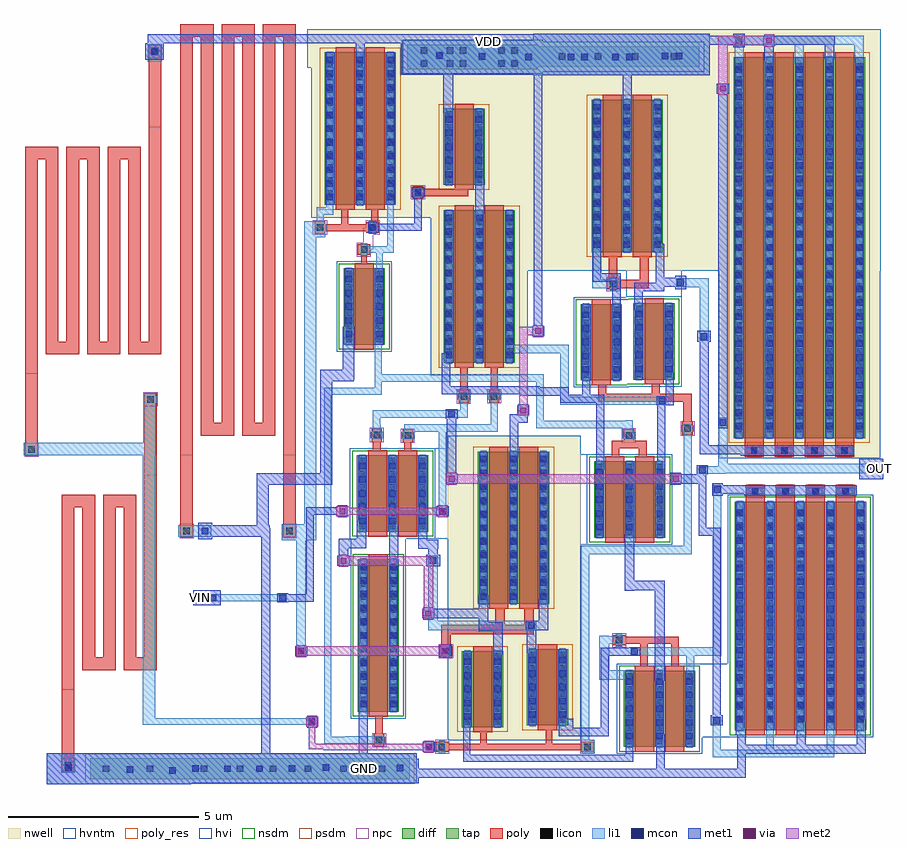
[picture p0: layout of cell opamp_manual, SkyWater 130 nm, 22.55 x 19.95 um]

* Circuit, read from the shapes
.subckt opamp_manual GND OUT VDD VIN
XM1 n1 n1 GND GND sky130_fd_pr__nfet_g5v0d10v5 w=2 l=0.5
XM2 n2 OUT n3 GND sky130_fd_pr__nfet_g5v0d10v5 w=2 l=0.5
XM3 n2 n1 GND GND sky130_fd_pr__nfet_g5v0d10v5 w=4 l=0.5
XM4 n4 VIN n2 GND sky130_fd_pr__nfet_g5v0d10v5 w=2 l=0.5
XM5 n5 n6 n7 GND sky130_fd_pr__nfet_g5v0d10v5 w=2 l=0.5
XM6 GND n1 n7 GND sky130_fd_pr__nfet_g5v0d10v5 w=2 l=0.5
XM7 GND n8 n8 GND sky130_fd_pr__nfet_g5v0d10v5 w=2 l=0.5
XM8 n9 n1 GND GND sky130_fd_pr__nfet_g5v0d10v5 w=2 l=0.5
XM9 n9 n6 n10 GND sky130_fd_pr__nfet_g5v0d10v5 w=2 l=0.5
XM10 n11 n8 GND GND sky130_fd_pr__nfet_g5v0d10v5 w=2 l=0.5
XM11 OUT n11 GND GND sky130_fd_pr__nfet_g5v0d10v5 w=6 l=0.5 m=4
XM12 VDD n12 n12 VDD sky130_fd_pr__pfet_g5v0d10v5 w=4 l=0.5
XM13 n1 n12 VDD VDD sky130_fd_pr__pfet_g5v0d10v5 w=4 l=0.5
XM14 n13 n12 VDD VDD sky130_fd_pr__pfet_g5v0d10v5 w=2 l=0.5
XM15 n13 OUT n7 VDD sky130_fd_pr__pfet_g5v0d10v5 w=4 l=0.5
XM16 n3 n6 n8 n14 sky130_fd_pr__pfet_g5v0d10v5 w=2 l=0.5
XM17 n9 VIN n13 VDD sky130_fd_pr__pfet_g5v0d10v5 w=4 l=0.5
XM18 VDD n12 n3 n14 sky130_fd_pr__pfet_g5v0d10v5 w=4 l=0.5
XM19 n4 n12 VDD n14 sky130_fd_pr__pfet_g5v0d10v5 w=4 l=0.5
XM20 n11 n6 n4 n14 sky130_fd_pr__pfet_g5v0d10v5 w=2 l=0.5
XM21 VDD n5 n5 VDD sky130_fd_pr__pfet_g5v0d10v5 w=4 l=0.5
XM22 n10 n5 VDD VDD sky130_fd_pr__pfet_g5v0d10v5 w=4 l=0.5
XM23 OUT n10 VDD VDD sky130_fd_pr__pfet_g5v0d10v5 w=10 l=0.5 m=4
R24 VDD n6 sky130_fd_pr__res_generic_po w=0.33 l=40.45
R25 n6 GND sky130_fd_pr__res_generic_po w=0.33 l=24.88
R26 GND n12 sky130_fd_pr__res_generic_po w=0.33 l=66.89
.ends

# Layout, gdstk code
import gdstk
lib = gdstk.Library(unit=1e-6, precision=1e-09)
def R(c, l, rs):  # rectangles x0, y0, x1, y1
    for r in rs: c.add(gdstk.rectangle(r[:2], r[2:], *l))
def A(c, l, x, y, w, h, nx, ny, dx, dy):  # array of equal rectangles
    R(c, l, [(x+i*dx, y+j*dy, x+i*dx+w, y+j*dy+h) for i in range(nx) for j in range(ny)])
nwell = (64, 20)
diff = (65, 20)
tap = (65, 44)
poly_res = (66, 13)
poly = (66, 20)
licon = (66, 44)
li1 = (67, 20)
mcon = (67, 44)
met1 = (68, 20)
via = (68, 44)
met2 = (69, 20)
hvi = (75, 20)
nsdm = (93, 44)
psdm = (94, 20)
npc = (95, 20)
hvntm = (125, 20)

sky130_fd_pr__res_generi = lib.new_cell('sky130_fd_pr__res_generic_po_RXJSZ5')
A(sky130_fd_pr__res_generi, poly_res, -0.975, -3.735, 0.33, 10.14, 4, 1, 0.54, 0)
A(sky130_fd_pr__res_generi, poly_res, -1.515, 6.405, 0.87, 0.33, 3, 1, 1.08, 0)
R(sky130_fd_pr__res_generi, poly_res, [(-1.515,-4.585,-1.185,6.405), (1.185,-4.585,1.515,6.405), (-0.975,-4.065,-0.105,-3.735), (0.105,-4.065,0.975,-3.735)])
A(sky130_fd_pr__res_generi, poly, -0.975, -3.735, 0.33, 10.14, 4, 1, 0.54, 0)
A(sky130_fd_pr__res_generi, poly, -1.515, 6.405, 0.87, 0.33, 3, 1, 1.08, 0)
R(sky130_fd_pr__res_generi, poly, [(-1.515,-6.735,-1.185,6.405), (1.185,-6.735,1.515,6.405), (-0.975,-4.065,-0.105,-3.735), (0.105,-4.065,0.975,-3.735)])
R(sky130_fd_pr__res_generi, licon, [(-1.435,-6.655,-1.265,-6.485), (1.265,-6.655,1.435,-6.485)])
R(sky130_fd_pr__res_generi, li1, [(-1.515,-6.655,-1.185,-6.485), (1.185,-6.655,1.515,-6.485)])
R(sky130_fd_pr__res_generi, npc, [(-1.535,-6.755,-1.165,-6.385), (1.165,-6.755,1.535,-6.385)])

sky130_fd_pr__pfet_g5v0d = lib.new_cell('sky130_fd_pr__pfet_g5v0d10v5_8FJ7Y8')
R(sky130_fd_pr__pfet_g5v0d, nwell, [(-1.115,-2.31,1.115,2.31)])
R(sky130_fd_pr__pfet_g5v0d, diff, [(-0.935,-2,0.935,2)])
R(sky130_fd_pr__pfet_g5v0d, poly, [(-0.645,-2.13,-0.145,2.13), (0.145,-2.13,0.645,2.13)])
A(sky130_fd_pr__pfet_g5v0d, licon, -0.875, -1.785, 0.17, 0.17, 3, 11, 0.79, 0.34)
A(sky130_fd_pr__pfet_g5v0d, li1, -0.875, -2.02, 0.17, 4.04, 3, 1, 0.79, 0)
A(sky130_fd_pr__pfet_g5v0d, mcon, -0.875, -1.885, 0.17, 0.17, 3, 11, 0.79, 0.36)
A(sky130_fd_pr__pfet_g5v0d, met1, -0.905, -2, 0.23, 4, 3, 1, 0.79, 0)
R(sky130_fd_pr__pfet_g5v0d, hvi, [(-1.115,-2.31,1.115,-2.185), (-1.12,-2.185,1.12,2.185), (-1.115,2.185,1.115,2.31)])
R(sky130_fd_pr__pfet_g5v0d, psdm, [(-1.06,-2.125,1.06,2.125)])

sky130_fd_pr__nfet_g5v0d = lib.new_cell('sky130_fd_pr__nfet_g5v0d10v5_RMDT5Q')
R(sky130_fd_pr__nfet_g5v0d, diff, [(-0.54,-1,0.54,1)])
R(sky130_fd_pr__nfet_g5v0d, poly, [(-0.25,-1.13,0.25,1.13)])
A(sky130_fd_pr__nfet_g5v0d, licon, -0.48, -0.935, 0.17, 0.17, 1, 6, 0, 0.34)
A(sky130_fd_pr__nfet_g5v0d, licon, 0.31, -0.935, 0.17, 0.17, 1, 6, 0, 0.34)
R(sky130_fd_pr__nfet_g5v0d, li1, [(-0.48,-1.02,-0.31,1.02), (0.31,-1.02,0.48,1.02)])
A(sky130_fd_pr__nfet_g5v0d, mcon, -0.48, -0.805, 0.17, 0.17, 1, 5, 0, 0.36)
A(sky130_fd_pr__nfet_g5v0d, mcon, 0.31, -0.805, 0.17, 0.17, 1, 5, 0, 0.36)
R(sky130_fd_pr__nfet_g5v0d, met1, [(-0.51,-1,-0.28,1), (0.28,-1,0.51,1)])
R(sky130_fd_pr__nfet_g5v0d, hvi, [(-0.725,-1.185,0.725,1.185)])
R(sky130_fd_pr__nfet_g5v0d, nsdm, [(-0.665,-1.125,0.665,1.125)])
R(sky130_fd_pr__nfet_g5v0d, hvntm, [(-0.725,-1.185,0.725,1.185)])

c_sky130_fd_pr__nfet_g5v0d = lib.new_cell('sky130_fd_pr__nfet_g5v0d10v5_PMDTK2')
R(c_sky130_fd_pr__nfet_g5v0d, diff, [(-0.54,-2,0.54,2)])
R(c_sky130_fd_pr__nfet_g5v0d, poly, [(-0.25,-2.13,0.25,2.13)])
A(c_sky130_fd_pr__nfet_g5v0d, licon, -0.48, -1.785, 0.17, 0.17, 1, 11, 0, 0.34)
A(c_sky130_fd_pr__nfet_g5v0d, licon, 0.31, -1.785, 0.17, 0.17, 1, 11, 0, 0.34)
R(c_sky130_fd_pr__nfet_g5v0d, li1, [(-0.48,-2.02,-0.31,2.02), (0.31,-2.02,0.48,2.02)])
A(c_sky130_fd_pr__nfet_g5v0d, mcon, -0.48, -1.885, 0.17, 0.17, 1, 11, 0, 0.36)
A(c_sky130_fd_pr__nfet_g5v0d, mcon, 0.31, -1.885, 0.17, 0.17, 1, 11, 0, 0.36)
R(c_sky130_fd_pr__nfet_g5v0d, met1, [(-0.51,-2,-0.28,2), (0.28,-2,0.51,2)])
R(c_sky130_fd_pr__nfet_g5v0d, hvi, [(-0.725,-2.185,0.725,2.185)])
R(c_sky130_fd_pr__nfet_g5v0d, nsdm, [(-0.665,-2.125,0.665,2.125)])
R(c_sky130_fd_pr__nfet_g5v0d, hvntm, [(-0.725,-2.185,0.725,2.185)])

c_sky130_fd_pr__nfet_g5v0d_ = lib.new_cell('sky130_fd_pr__nfet_g5v0d10v5_V6DT5N')
R(c_sky130_fd_pr__nfet_g5v0d_, diff, [(-0.935,-1,0.935,1)])
R(c_sky130_fd_pr__nfet_g5v0d_, poly, [(-0.645,-1.13,-0.145,1.13), (0.145,-1.13,0.645,1.13)])
A(c_sky130_fd_pr__nfet_g5v0d_, licon, -0.875, -0.935, 0.17, 0.17, 3, 6, 0.79, 0.34)
A(c_sky130_fd_pr__nfet_g5v0d_, li1, -0.875, -1.02, 0.17, 2.04, 3, 1, 0.79, 0)
A(c_sky130_fd_pr__nfet_g5v0d_, mcon, -0.875, -0.805, 0.17, 0.17, 3, 5, 0.79, 0.36)
A(c_sky130_fd_pr__nfet_g5v0d_, met1, -0.905, -1, 0.23, 2, 3, 1, 0.79, 0)
R(c_sky130_fd_pr__nfet_g5v0d_, hvi, [(-1.12,-1.185,1.12,1.185)])
R(c_sky130_fd_pr__nfet_g5v0d_, nsdm, [(-1.06,-1.125,1.06,1.125)])
R(c_sky130_fd_pr__nfet_g5v0d_, hvntm, [(-1.12,-1.185,1.12,1.185)])

c_sky130_fd_pr__pfet_g5v0d = lib.new_cell('sky130_fd_pr__pfet_g5v0d10v5_D4MKA2')
R(c_sky130_fd_pr__pfet_g5v0d, nwell, [(-0.72,-1.31,0.72,1.31)])
R(c_sky130_fd_pr__pfet_g5v0d, diff, [(-0.54,-1,0.54,1)])
R(c_sky130_fd_pr__pfet_g5v0d, poly, [(-0.25,-1.13,0.25,1.13)])
A(c_sky130_fd_pr__pfet_g5v0d, licon, -0.48, -0.935, 0.17, 0.17, 1, 6, 0, 0.34)
A(c_sky130_fd_pr__pfet_g5v0d, licon, 0.31, -0.935, 0.17, 0.17, 1, 6, 0, 0.34)
R(c_sky130_fd_pr__pfet_g5v0d, li1, [(-0.48,-1.02,-0.31,1.02), (0.31,-1.02,0.48,1.02)])
A(c_sky130_fd_pr__pfet_g5v0d, mcon, -0.48, -0.805, 0.17, 0.17, 1, 5, 0, 0.36)
A(c_sky130_fd_pr__pfet_g5v0d, mcon, 0.31, -0.805, 0.17, 0.17, 1, 5, 0, 0.36)
R(c_sky130_fd_pr__pfet_g5v0d, met1, [(-0.51,-1,-0.28,1), (0.28,-1,0.51,1)])
R(c_sky130_fd_pr__pfet_g5v0d, hvi, [(-0.72,-1.31,0.72,-1.185), (-0.725,-1.185,0.725,1.185), (-0.72,1.185,0.72,1.31)])
R(c_sky130_fd_pr__pfet_g5v0d, psdm, [(-0.665,-1.125,0.665,1.125)])

c_sky130_fd_pr__pfet_g5v0d_ = lib.new_cell('sky130_fd_pr__pfet_g5v0d10v5_D8UYD2')
R(c_sky130_fd_pr__pfet_g5v0d_, nwell, [(-1.115,-2.31,1.115,2.31)])
R(c_sky130_fd_pr__pfet_g5v0d_, diff, [(-0.935,-2,0.935,2)])
R(c_sky130_fd_pr__pfet_g5v0d_, poly, [(-0.645,-2.13,-0.145,2.13), (0.145,-2.13,0.645,2.13)])
A(c_sky130_fd_pr__pfet_g5v0d_, licon, -0.875, -1.785, 0.17, 0.17, 3, 11, 0.79, 0.34)
A(c_sky130_fd_pr__pfet_g5v0d_, li1, -0.875, -2.02, 0.17, 4.04, 3, 1, 0.79, 0)
A(c_sky130_fd_pr__pfet_g5v0d_, mcon, -0.875, -1.885, 0.17, 0.17, 3, 11, 0.79, 0.36)
A(c_sky130_fd_pr__pfet_g5v0d_, met1, -0.905, -2, 0.23, 4, 3, 1, 0.79, 0)
R(c_sky130_fd_pr__pfet_g5v0d_, hvi, [(-1.115,-2.31,1.115,-2.185), (-1.12,-2.185,1.12,2.185), (-1.115,2.185,1.115,2.31)])
R(c_sky130_fd_pr__pfet_g5v0d_, psdm, [(-1.06,-2.125,1.06,2.125)])

c_sky130_fd_pr__nfet_g5v0d__ = lib.new_cell('sky130_fd_pr__nfet_g5v0d10v5_S6V9QV')
R(c_sky130_fd_pr__nfet_g5v0d__, diff, [(-1.725,-3.155,1.725,2.845)])
A(c_sky130_fd_pr__nfet_g5v0d__, poly, -1.435, -3.285, 0.5, 6.57, 4, 1, 0.79, 0)
A(c_sky130_fd_pr__nfet_g5v0d__, licon, -1.665, -2.96, 0.17, 0.17, 5, 17, 0.79, 0.34)
A(c_sky130_fd_pr__nfet_g5v0d__, licon, -1.27, 3.035, 0.17, 0.17, 4, 1, 0.79, 0)
A(c_sky130_fd_pr__nfet_g5v0d__, li1, -1.665, -3.175, 0.17, 6.04, 5, 1, 0.79, 0)
A(c_sky130_fd_pr__nfet_g5v0d__, li1, -1.435, 3.035, 0.5, 0.17, 4, 1, 0.79, 0)
A(c_sky130_fd_pr__nfet_g5v0d__, mcon, -1.665, -2.94, 0.17, 0.17, 5, 16, 0.79, 0.36)
A(c_sky130_fd_pr__nfet_g5v0d__, mcon, -1.27, 3.035, 0.17, 0.17, 4, 1, 0.79, 0)
A(c_sky130_fd_pr__nfet_g5v0d__, met1, -1.695, -3.155, 0.23, 6, 5, 1, 0.79, 0)
A(c_sky130_fd_pr__nfet_g5v0d__, met1, -1.415, 3.005, 0.46, 0.23, 4, 1, 0.79, 0)
R(c_sky130_fd_pr__nfet_g5v0d__, hvi, [(-1.91,-3.34,1.91,3.03)])
R(c_sky130_fd_pr__nfet_g5v0d__, nsdm, [(-1.85,-3.28,1.85,2.97)])
A(c_sky130_fd_pr__nfet_g5v0d__, npc, -1.37, 2.935, 0.37, 0.37, 4, 1, 0.79, 0)
R(c_sky130_fd_pr__nfet_g5v0d__, hvntm, [(-1.91,-3.34,1.91,3.03)])

c_sky130_fd_pr__pfet_g5v0d__ = lib.new_cell('sky130_fd_pr__pfet_g5v0d10v5_H9HYDU')
R(c_sky130_fd_pr__pfet_g5v0d__, nwell, [(-1.905,-5.32,1.905,5.49)])
R(c_sky130_fd_pr__pfet_g5v0d__, diff, [(-1.725,-4.82,1.725,5.18)])
A(c_sky130_fd_pr__pfet_g5v0d__, poly, -1.435, -5.305, 0.5, 10.615, 4, 1, 0.79, 0)
A(c_sky130_fd_pr__pfet_g5v0d__, licon, -1.27, -5.225, 0.17, 0.17, 4, 1, 0.79, 0)
A(c_sky130_fd_pr__pfet_g5v0d__, licon, -1.665, -4.665, 0.17, 0.17, 5, 29, 0.79, 0.34)
A(c_sky130_fd_pr__pfet_g5v0d__, li1, -1.435, -5.225, 0.5, 0.17, 4, 1, 0.79, 0)
A(c_sky130_fd_pr__pfet_g5v0d__, li1, -1.665, -4.84, 0.17, 10.04, 5, 1, 0.79, 0)
A(c_sky130_fd_pr__pfet_g5v0d__, mcon, -1.27, -5.225, 0.17, 0.17, 4, 1, 0.79, 0)
A(c_sky130_fd_pr__pfet_g5v0d__, mcon, -1.665, -4.585, 0.17, 0.17, 5, 27, 0.79, 0.36)
A(c_sky130_fd_pr__pfet_g5v0d__, met1, -1.415, -5.255, 0.46, 0.23, 4, 1, 0.79, 0)
A(c_sky130_fd_pr__pfet_g5v0d__, met1, -1.695, -4.82, 0.23, 10, 5, 1, 0.79, 0)
R(c_sky130_fd_pr__pfet_g5v0d__, hvi, [(-1.905,-5.32,1.905,-5.005), (-1.91,-5.005,1.91,5.365), (-1.905,5.365,1.905,5.49)])
R(c_sky130_fd_pr__pfet_g5v0d__, psdm, [(-1.85,-4.945,1.85,5.305)])
A(c_sky130_fd_pr__pfet_g5v0d__, npc, -1.37, -5.325, 0.37, 0.37, 4, 1, 0.79, 0)

c_sky130_fd_pr__res_generi = lib.new_cell('sky130_fd_pr__res_generic_po_V4ENZ7')
A(c_sky130_fd_pr__res_generi, poly_res, -1.245, -2.725, 0.87, 0.33, 3, 1, 1.08, 0)
A(c_sky130_fd_pr__res_generi, poly_res, -1.245, -2.395, 0.33, 4.79, 5, 1, 0.54, 0)
A(c_sky130_fd_pr__res_generi, poly_res, -1.785, 2.395, 0.87, 0.33, 3, 1, 1.08, 0)
R(c_sky130_fd_pr__res_generi, poly_res, [(-1.785,-3.245,-1.455,2.395), (1.455,-2.395,1.785,3.245)])
A(c_sky130_fd_pr__res_generi, poly, -1.245, -2.725, 0.87, 0.33, 3, 1, 1.08, 0)
A(c_sky130_fd_pr__res_generi, poly, -1.245, -2.395, 0.33, 4.79, 5, 1, 0.54, 0)
A(c_sky130_fd_pr__res_generi, poly, -1.785, 2.395, 0.87, 0.33, 3, 1, 1.08, 0)
R(c_sky130_fd_pr__res_generi, poly, [(-1.785,-5.395,-1.455,2.395), (1.455,-2.395,1.785,5.395)])
R(c_sky130_fd_pr__res_generi, licon, [(-1.705,-5.315,-1.535,-5.145), (1.535,5.145,1.705,5.315)])
R(c_sky130_fd_pr__res_generi, li1, [(-1.785,-5.315,-1.455,-5.145), (1.455,5.145,1.785,5.315)])
R(c_sky130_fd_pr__res_generi, npc, [(-1.805,-5.415,-1.435,-5.045), (1.435,5.045,1.805,5.415)])

c_sky130_fd_pr__res_generi_ = lib.new_cell('sky130_fd_pr__res_generic_po_KFNRVH')
A(c_sky130_fd_pr__res_generi_, poly_res, -0.705, -1.97, 0.33, 3.94, 3, 1, 0.54, 0)
R(c_sky130_fd_pr__res_generi_, poly_res, [(-1.245,-2.82,-0.915,1.97), (-0.705,-2.3,0.165,-1.97), (0.375,-2.3,1.245,-1.97), (0.915,-1.97,1.245,2.82), (-1.245,1.97,-0.375,2.3), (-0.165,1.97,0.705,2.3)])
A(c_sky130_fd_pr__res_generi_, poly, -0.705, -1.97, 0.33, 3.94, 3, 1, 0.54, 0)
R(c_sky130_fd_pr__res_generi_, poly, [(-1.245,-4.97,-0.915,1.97), (-0.705,-2.3,0.165,-1.97), (0.375,-2.3,1.245,-1.97), (0.915,-1.97,1.245,4.97), (-1.245,1.97,-0.375,2.3), (-0.165,1.97,0.705,2.3)])
R(c_sky130_fd_pr__res_generi_, licon, [(-1.165,-4.89,-0.995,-4.72), (0.995,4.72,1.165,4.89)])
R(c_sky130_fd_pr__res_generi_, li1, [(-1.245,-4.89,-0.915,-4.72), (0.915,4.72,1.245,4.89)])
R(c_sky130_fd_pr__res_generi_, npc, [(-1.265,-4.99,-0.895,-4.62), (0.895,4.62,1.265,4.99)])

opamp_manual = lib.new_cell('opamp_manual')
R(opamp_manual, nwell, [(7.115,1.13,10.55,1.14), (7.07,1.14,10.56,9.125), (14.185,8.535,18.415,13.455), (6.615,10.705,9.16,13.455), (6.615,13.455,18.425,14.845), (3.485,14.845,18.425,18.775), (3.385,18.775,18.425,19.785)])
R(opamp_manual, tap, [(-2.32,0.11,6.065,0.655), (6.01,18.74,9.43,18.8), (6.01,18.8,13.67,19.34), (6.01,19.34,9.43,19.385)])
R(opamp_manual, poly, [(6.755,0.82,7.085,0.87), (10.565,0.82,10.895,0.87), (6.755,0.87,10.895,1.04), (5.13,0.965,5.4,1.295), (6.755,1.04,7.085,1.09), (7.92,1.04,8.09,1.49), (9.645,1.04,9.815,1.485), (10.565,1.04,10.895,1.09), (5.165,1.295,5.365,1.915), (12.115,2.925,12.31,3.655), (12.935,2.95,13.13,3.655), (6.855,3.33,7.185,3.6), (6.895,3.6,7.145,3.905), (11.4,3.62,11.73,3.655), (11.4,3.655,13.13,3.85), (11.4,3.85,11.73,3.89), (6.895,3.905,9.32,4.155), (8.31,4.155,8.56,4.765), (9.07,4.155,9.32,4.685), (11.37,8.41,11.57,8.79), (12.085,8.415,12.285,8.79), (5.1,8.565,5.31,8.975), (5.92,8.575,6.115,8.955), (11.37,8.79,12.285,8.99), (5.885,8.955,6.155,9.285), (5.07,8.975,5.34,9.305), (11.685,8.99,11.955,9.29), (13.225,9.145,13.495,9.475), (13.25,9.475,13.465,10.005), (7.355,9.985,7.625,10.315), (8.15,9.99,8.42,10.32), (11.015,10.005,13.465,10.22), (11.015,10.22,11.23,10.62), (12.415,10.22,12.63,10.625), (7.39,10.315,7.59,11.07), (8.19,10.32,8.375,11.065), (11.24,12.965,11.57,12.985), (11.24,12.985,12.335,13.215), (11.24,13.215,11.57,13.235), (12.105,13.215,12.335,13.94), (11.29,13.235,11.52,13.99), (4.79,13.51,4.94,13.61), (4.79,13.61,4.96,13.66), (4.79,13.66,4.94,13.87), (4.7,13.87,5.03,14.14), (3.58,14.42,3.85,14.49), (4.93,14.45,5.26,14.49), (3.58,14.49,5.26,14.675), (3.58,14.675,3.85,14.75), (4.27,14.675,4.455,15.15), (4.93,14.675,5.26,14.72), (5.06,14.72,5.245,15.175), (6.15,15.34,6.42,15.405), (6.15,15.405,7.6,15.605), (6.15,15.605,6.42,15.67), (7.4,15.605,7.6,15.735)])
R(opamp_manual, licon, [(-1.99,0.295,-1.82,0.465), (-0.835,0.295,-0.665,0.465), (0.58,0.295,0.75,0.465), (1.525,0.295,1.695,0.465), (2.395,0.295,2.565,0.465), (3.31,0.295,3.48,0.465), (4.245,0.295,4.415,0.465), (5.26,0.295,5.43,0.465), (6.835,0.87,7.005,1.04), (10.645,0.87,10.815,1.04), (5.18,1.045,5.35,1.215), (6.935,3.38,7.105,3.55), (11.48,3.67,11.65,3.84), (5.935,9.035,6.105,9.205), (11.735,9.04,11.905,9.21), (5.12,9.055,5.29,9.225), (13.275,9.225,13.445,9.395), (7.405,10.065,7.575,10.235), (8.2,10.07,8.37,10.24), (11.32,13.015,11.49,13.185), (4.78,13.92,4.95,14.09), (3.63,14.5,3.8,14.67), (5.01,14.5,5.18,14.67), (6.2,15.42,6.37,15.59), (6.355,18.805,6.525,18.975), (7.045,18.805,7.215,18.975), (7.385,18.805,7.555,18.975), (8.39,18.805,8.56,18.975), (8.73,18.805,8.9,18.975), (9.98,18.985,10.15,19.155), (10.925,18.985,11.095,19.155), (11.895,18.985,12.065,19.155), (12.92,18.985,13.09,19.155), (6.355,19.145,6.525,19.315), (7.045,19.145,7.215,19.315), (7.385,19.145,7.555,19.315), (8.39,19.145,8.56,19.315), (8.73,19.145,8.9,19.315)])
R(opamp_manual, li1, [(-3.46,-0.02,0.33,0), (-3.46,0,6.255,0.785), (14.025,0.685,17.21,0.885), (-3.46,0.785,0.33,0.79), (10.585,0.785,10.93,0.82), (6.835,0.79,7.005,0.87), (10.57,0.82,10.93,1.13), (6.485,0.87,7.005,1.04), (14.025,0.885,14.225,1.75), (15.42,0.885,15.62,1.61), (17.01,0.885,17.21,1.565), (4.38,1.03,5.365,1.035), (3.825,1.035,5.365,1.045), (6.835,1.04,7.005,1.12), (3.825,1.045,5.43,1.215), (10.57,1.13,10.785,6.015), (3.825,1.215,5.365,1.22), (3.825,1.22,4.01,10.195), (4.38,1.22,5.365,1.23), (3.41,1.515,3.58,1.53), (-0.935,1.53,3.58,1.7), (-0.935,1.7,-0.605,8.61), (3.41,1.7,3.58,1.715), (13.325,2.675,13.54,3.35), (11.04,2.71,11.945,2.97), (11.04,2.97,11.3,3.66), (6.935,3.3,7.105,3.34), (6.895,3.34,7.145,3.59), (3.095,3.345,3.345,6.38), (11.865,3.35,14.25,3.565), (14.035,3.565,14.25,7.815), (6.935,3.59,7.105,3.63), (11.48,3.59,11.65,3.66), (11.04,3.66,11.665,3.855), (11.04,3.855,11.3,3.87), (11.48,3.855,11.65,3.92), (6.56,4.02,9.39,4.265), (6.56,4.265,6.805,5.97), (0.815,4.77,2.835,4.965), (10.57,6.015,13.47,6.23), (13.255,6.23,13.47,9.225), (2.71,6.38,3.62,6.795), (0,6.465,0.855,6.77), (3.3,6.795,3.62,14.335), (6.83,7.035,7.025,9.225), (13.65,8.125,14.365,8.135), (13.65,8.135,18.31,8.325), (14.17,8.325,18.31,8.38), (14.17,8.38,14.415,9.595), (-4.06,8.61,-0.595,8.94), (-0.925,8.94,-0.595,10.235), (5.925,9.025,6.12,9.035), (11.72,9.025,11.92,9.04), (5.1,9.035,5.31,9.055), (5.855,9.035,6.185,9.205), (11.655,9.04,11.985,9.21), (5.04,9.055,5.37,9.225), (5.925,9.205,6.185,9.225), (11.655,9.21,11.92,9.315), (5.1,9.225,5.31,9.41), (5.925,9.225,8.38,9.42), (13.195,9.225,13.525,9.395), (9.39,9.315,11.92,9.515), (13.255,9.395,13.47,9.42), (5.1,9.41,5.3,9.59), (8.195,9.42,8.38,10.07), (9.39,9.515,9.59,10.53), (11.72,9.515,11.92,9.52), (5.1,9.59,7.59,9.79), (7.39,9.79,7.59,10.065), (10.025,9.93,12.8,10.145), (7.325,10.065,7.655,10.235), (8.12,10.07,8.45,10.24), (10.025,10.145,10.24,11.29), (3.825,10.195,5.335,10.38), (7.39,10.235,7.59,10.25), (8.195,10.24,8.38,10.25), (5.15,10.38,5.335,10.53), (5.15,10.53,9.59,10.73), (5.15,10.73,5.335,12.545), (8.625,11.29,10.24,11.505), (13.68,11.61,13.915,13.02), (11.32,12.935,11.49,12.985), (10.855,12.985,11.52,13.215), (13.35,13.02,13.915,13.03), (13.065,13.03,13.915,13.255), (10.855,13.215,11.085,14.395), (11.32,13.215,11.49,13.265), (5.2,13.455,5.345,13.515), (5.185,13.515,5.355,13.52), (5.185,13.52,5.36,13.92), (4.78,13.84,4.95,13.92), (4.78,13.92,5.645,14.09), (4.78,14.09,4.95,14.17), (5.475,14.09,5.645,15.645), (3.3,14.335,3.85,14.5), (5.01,14.42,5.18,14.495), (5.005,14.495,5.19,14.68), (3.3,14.5,3.88,14.67), (3.3,14.67,3.85,14.75), (5.01,14.68,5.18,14.75), (3.625,14.75,3.81,14.925), (3.625,14.925,4.06,15.11), (3.875,15.11,4.06,15.44), (6.185,15.405,6.385,15.42), (6.12,15.42,6.45,15.59), (6.185,15.59,6.385,15.605), (9.31,18.585,13.94,18.59), (5.86,18.59,13.94,19.5), (16.17,18.89,16.41,19.375), (17.75,18.89,17.99,19.115), (14.595,18.915,14.835,19.375), (-0.81,18.93,-0.44,19.39), (17.74,19.115,17.99,19.23), (17.74,19.23,17.98,19.375), (14.595,19.375,17.98,19.615), (9.31,19.5,13.94,19.665)])
R(opamp_manual, mcon, [(-0.245,0.255,-0.075,0.425), (-1.355,0.275,-1.185,0.445), (1.2,0.295,1.37,0.465), (2.045,0.295,2.215,0.465), (0.36,0.305,0.53,0.475), (2.89,0.305,3.06,0.475), (5.725,0.315,5.895,0.485), (-2.975,0.325,-2.805,0.495), (3.785,0.325,3.955,0.495), (4.72,0.325,4.89,0.495), (6.485,0.87,6.655,1.04), (3.41,1.53,3.58,1.7), (14.04,1.565,14.21,1.735), (11.885,3.37,12.055,3.54), (6.935,3.38,7.105,3.55), (3.135,3.385,3.305,3.555), (9.18,4.05,9.35,4.22), (0.825,4.78,0.995,4.95), (2.65,4.78,2.82,4.95), (6.595,5.76,6.765,5.93), (0.615,6.53,0.785,6.7), (6.84,7.045,7.01,7.215), (14.055,7.62,14.225,7.79), (13.665,8.14,13.835,8.31), (18.1,8.17,18.27,8.34), (14.205,9.385,14.375,9.555), (7.085,9.61,7.255,9.78), (12.605,9.95,12.775,10.12), (13.71,11.64,13.88,11.81), (13.09,13.055,13.26,13.225), (5.01,14.5,5.18,14.67), (6.2,15.42,6.37,15.59), (9.1,18.97,9.27,19.14), (11.39,18.97,11.56,19.14), (11.75,18.97,11.92,19.14), (10.215,18.98,10.385,19.15), (10.575,18.98,10.745,19.15), (7.885,18.985,8.055,19.155), (12.685,18.995,12.855,19.165), (13.045,18.995,13.215,19.165), (6.765,19.01,6.935,19.18), (-0.71,19.12,-0.54,19.29), (14.63,19.41,14.8,19.58)])
R(opamp_manual, met1, [(-3.46,-0.02,0.33,0), (-3.46,0,6.3,0.145), (-3.46,0.145,14.89,0.375), (-3.46,0.375,6.3,0.645), (12.535,0.375,12.765,1.28), (14.66,0.375,14.89,0.775), (7.47,0.56,11.93,0.75), (-3.46,0.645,6.255,0.785), (7.47,0.75,7.66,1.775), (11.74,0.75,11.93,1.265), (14.66,0.775,18.035,1.005), (-3.46,0.785,0.33,0.79), (2.175,0.785,2.405,6.47), (4.735,0.785,4.965,1.93), (6.455,0.81,6.685,0.825), (6.41,0.825,6.73,1.085), (14.66,1.005,14.89,1.275), (16.23,1.005,16.46,1.6), (17.805,1.005,18.035,1.675), (6.455,1.085,6.685,1.1), (9.98,1.235,11.295,1.45), (14.625,1.275,14.89,1.43), (14.625,1.43,14.86,1.435), (9.98,1.45,10.36,1.69), (11.08,1.45,11.295,3.345), (3.38,1.455,3.64,1.485), (3.35,1.485,3.64,1.745), (13.965,1.52,14.285,1.78), (3.38,1.745,3.64,1.775), (14.025,1.78,14.225,6.5), (12.505,2.69,12.755,5.065), (6.865,3.28,7.175,3.31), (6.835,3.31,7.175,3.62), (3.09,3.315,3.35,3.335), (3.06,3.335,3.38,3.595), (11.825,3.34,12.115,3.345), (11.08,3.345,12.115,3.56), (8.265,3.38,8.51,3.985), (9.145,3.42,9.39,4.015), (11.825,3.56,12.115,3.57), (3.09,3.595,3.35,3.625), (6.865,3.62,7.175,3.65), (7.88,3.985,8.51,4.23), (9.115,4.015,9.705,4.26), (7.88,4.23,8.125,4.33), (9.46,4.26,9.705,4.825), (6.425,4.295,6.685,4.33), (6.425,4.33,8.125,4.575), (6.425,4.575,6.685,4.615), (7.88,4.575,8.125,4.93), (0.385,4.67,1.11,5.065), (2.59,4.75,2.88,4.765), (2.59,4.765,3.545,4.96), (2.59,4.96,2.88,4.98), (3.35,4.96,3.545,7.045), (11.715,5.045,11.965,5.065), (11.715,5.065,12.755,5.315), (11.715,5.315,11.965,6.535), (6.5,5.695,6.865,6), (4.17,5.705,4.49,5.965), (5.53,5.79,5.77,6.78), (4.21,5.965,4.455,6.165), (6.56,6,6.805,6.155), (6.295,6.155,6.82,6.385), (4.21,6.165,4.93,6.41), (6.295,6.385,6.525,6.66), (0.52,6.405,0.885,6.47), (4.685,6.41,4.93,6.88), (0.52,6.47,2.405,6.695), (13.65,6.5,14.225,6.7), (0.52,6.695,2.395,6.775), (13.65,6.7,13.85,7.865), (0.52,6.775,0.885,6.83), (2.06,6.775,2.365,7.835), (6.8,6.975,7.055,7.005), (4.175,6.98,4.435,7.045), (6.77,7.005,7.09,7.265), (3.35,7.045,4.435,7.24), (4.175,7.24,4.435,7.3), (6.8,7.265,7.055,7.29), (14.005,7.54,14.28,7.6), (14.85,7.55,17.805,7.6), (14.005,7.6,17.805,7.815), (14.005,7.815,14.28,7.875), (14.85,7.815,17.805,7.825), (12.92,7.83,13.18,7.865), (2.06,7.835,4.03,8.14), (7.01,7.86,7.33,8.12), (12.92,7.865,13.85,8.11), (17.87,7.98,18.495,8.515), (12.92,8.11,13.895,8.115), (12.92,8.115,13.18,8.15), (13.605,8.115,13.895,8.34), (7.045,8.12,7.295,9.57), (3.725,8.14,4.03,10.55), (10.96,8.225,11.175,9.985), (12.56,8.27,12.775,9.92), (8.7,8.56,8.92,9.46), (14.755,8.59,17.71,8.63), (13.68,8.63,17.71,8.865), (13.68,8.865,13.915,11.58), (14.17,9.32,14.415,18.1), (8.7,9.46,9.16,9.625), (7.015,9.57,7.325,9.82), (8.7,9.625,9.18,9.68), (8.92,9.68,9.18,9.945), (12.545,9.92,12.835,9.925), (12.545,9.925,13,10.15), (10.025,9.985,11.175,10.175), (12.785,10.15,13,10.77), (8.945,10.175,11.175,10.2), (8.945,10.2,10.24,10.205), (10.59,10.2,10.805,10.81), (6.915,10.205,10.24,10.39), (6.915,10.39,9.485,10.42), (6.915,10.42,7.13,11.285), (3.725,10.55,4.605,10.585), (3.725,10.585,4.61,10.855), (4.305,10.855,4.61,11.98), (13.62,11.58,13.975,11.875), (9.28,11.735,9.6,11.995), (9.33,11.995,9.55,18.585), (11.385,12.415,11.61,13.155), (11.96,12.42,12.185,12.91), (11.96,12.91,12.75,13.035), (13.035,12.97,13.32,13.035), (11.96,13.035,13.32,13.135), (12.525,13.135,13.32,13.26), (10.87,13.155,11.61,13.38), (12.525,13.26,12.75,14.155), (13.035,13.26,13.32,13.315), (10.87,13.38,11.095,14.17), (4.975,14.435,5.22,14.5), (4.975,14.5,6.385,14.685), (4.975,14.685,5.22,14.74), (6.185,14.685,6.385,15.375), (7.785,14.945,8.025,15.825), (6.125,15.375,6.445,15.635), (6.95,17.61,7.215,18.59), (11.655,17.705,11.89,18.585), (14.13,18.1,14.45,18.36), (9.31,18.585,13.94,18.59), (5.83,18.59,13.94,19.375), (15.375,18.98,15.62,19.36), (-0.87,18.99,-0.38,19.42), (16.96,19,17.205,19.375), (4.655,19.055,4.89,19.425), (14.565,19.315,14.865,19.375), (15.34,19.36,15.66,19.375), (5.83,19.375,14.865,19.425), (15.34,19.375,17.225,19.62), (-0.81,19.42,-0.38,19.425), (-0.81,19.425,14.865,19.615), (-0.81,19.615,13.94,19.655), (14.565,19.615,14.865,19.675), (-0.785,19.655,13.94,19.66), (9.31,19.66,13.94,19.665)])
R(opamp_manual, via, [(6.495,0.88,6.645,1.03), (3.435,1.54,3.585,1.69), (3.145,3.39,3.295,3.54), (6.92,3.39,7.07,3.54), (6.48,4.38,6.63,4.53), (4.255,5.76,4.405,5.91), (6.855,7.06,7.005,7.21), (4.23,7.065,4.38,7.215), (7.095,7.915,7.245,8.065), (12.975,7.915,13.125,8.065), (8.975,9.71,9.125,9.86), (9.365,11.79,9.515,11.94), (14.215,18.155,14.365,18.305), (15.425,19.415,15.575,19.565)])
R(opamp_manual, met2, [(6.44,0.795,6.7,0.87), (3.795,0.87,6.7,0.895), (3.425,0.895,6.7,1.04), (3.425,1.04,3.595,1.485), (6.44,1.04,6.7,1.115), (3.35,1.485,3.67,1.745), (6.865,3.28,7.125,3.34), (3.09,3.305,3.35,3.34), (3.09,3.34,7.125,3.59), (3.09,3.59,3.35,3.625), (6.865,3.59,7.125,3.65), (6.395,4.325,6.715,4.585), (6.435,4.585,6.68,5.71), (4.2,5.675,4.46,5.71), (4.2,5.71,6.68,5.945), (4.2,5.945,6.64,5.955), (4.2,5.955,4.46,5.995), (6.8,6.975,7.06,7.04), (4.145,7.01,4.465,7.04), (4.145,7.04,7.06,7.235), (4.145,7.235,4.465,7.27), (6.8,7.235,7.06,7.295), (7.04,7.83,7.3,7.865), (12.88,7.86,13.21,7.865), (7.025,7.865,13.21,8.115), (7.04,8.115,7.3,8.15), (12.88,8.115,13.21,8.12), (8.89,9.655,9.21,9.915), (8.94,9.915,9.16,11.755), (9.31,11.705,9.57,11.755), (8.94,11.755,9.57,11.975), (9.31,11.975,9.57,12.025), (14.16,18.07,14.42,18.39), (14.165,18.39,14.41,19.37), (15.37,19.33,15.63,19.37), (14.165,19.37,15.63,19.615), (15.37,19.615,15.63,19.65)])
R(opamp_manual, hvi, [(7.115,1.13,10.55,1.14), (7.07,1.14,10.56,1.16), (7.07,1.16,7.26,1.285), (8.7,1.16,10.56,1.21), (13.745,1.205,14.41,3.14), (8.7,1.21,8.965,1.285), (10.405,1.21,10.56,1.335), (7.07,1.285,7.255,3.655), (8.705,1.285,8.965,1.335), (8.705,1.335,8.96,3.655), (10.41,1.335,10.56,3.705), (7.07,3.655,7.26,3.78), (8.7,3.655,8.96,3.705), (8.7,3.705,8.965,3.78), (10.405,3.705,10.56,3.83), (7.07,3.78,8.965,3.83), (7.07,3.83,10.56,4.395), (7.07,4.395,7.68,4.52), (9.91,4.395,10.56,4.52), (7.07,4.52,7.675,6.42), (9.915,4.52,10.56,6.26), (4.52,6.065,5.97,6.42), (9.915,6.26,10.72,8.63), (6.74,6.42,7.675,8.79), (14.185,8.535,18.415,13.455), (9.915,8.63,10.56,8.89), (7.07,8.79,7.675,8.89), (7.07,8.89,7.68,9.015), (9.91,8.89,10.56,9.015), (7.07,9.015,10.56,9.125), (6.615,10.705,9.16,13.455), (11.755,12.78,13.205,13.455), (6.615,13.455,18.425,14.845), (3.485,14.845,18.425,18.775), (3.385,18.775,18.425,19.785)])
R(opamp_manual, nsdm, [(11.76,10.47,11.815,12.7), (5.885,18.615,9.555,18.675), (5.885,18.675,13.795,19.465), (5.885,19.465,9.555,19.51)])
R(opamp_manual, psdm, [(-2.445,-0.015,6.19,0.78)])
R(opamp_manual, npc, [(6.735,0.77,7.105,1.14), (10.545,0.77,10.915,1.14), (5.08,0.945,5.45,1.315), (6.835,3.28,7.205,3.65), (11.38,3.57,11.75,3.94), (5.835,8.935,6.205,9.305), (11.635,8.94,12.005,9.31), (5.02,8.955,5.39,9.325), (13.175,9.125,13.545,9.495), (7.305,9.965,7.675,10.335), (8.1,9.97,8.47,10.34), (11.22,12.915,11.59,13.285), (4.68,13.82,5.05,14.01), (4.68,14.01,5.115,14.19), (4.845,14.19,5.115,14.4), (3.53,14.4,3.9,14.77), (4.845,14.4,5.28,14.58), (4.91,14.58,5.28,14.77), (6.1,15.32,6.47,15.69)])
R(opamp_manual, hvntm, [(13.745,1.205,14.41,3.14), (4.52,6.065,5.97,6.42)])
opamp_manual.add(gdstk.Reference(sky130_fd_pr__res_generi, (1.565,13.19)))
opamp_manual.add(gdstk.Reference(sky130_fd_pr__pfet_g5v0d, (4.77,17.18)))
opamp_manual.add(gdstk.Reference(sky130_fd_pr__nfet_g5v0d, (4.875,12.51)))
opamp_manual.add(gdstk.Reference(c_sky130_fd_pr__nfet_g5v0d, (5.245,3.88)))
opamp_manual.add(gdstk.Reference(c_sky130_fd_pr__nfet_g5v0d_, (5.62,7.605)))
opamp_manual.add(gdstk.Reference(c_sky130_fd_pr__pfet_g5v0d, (7.98,2.47)))
opamp_manual.add(gdstk.Reference(c_sky130_fd_pr__pfet_g5v0d, (7.495,16.7)))
opamp_manual.add(gdstk.Reference(c_sky130_fd_pr__pfet_g5v0d_, (8.795,6.705)))
opamp_manual.add(gdstk.Reference(c_sky130_fd_pr__pfet_g5v0d_, (7.895,13.035)))
opamp_manual.add(gdstk.Reference(c_sky130_fd_pr__nfet_g5v0d_, (12.625,1.955)))
opamp_manual.add(gdstk.Reference(c_sky130_fd_pr__nfet_g5v0d_, (11.84,7.445)))
opamp_manual.add(gdstk.Reference(sky130_fd_pr__nfet_g5v0d, (12.48,11.595)))
opamp_manual.add(gdstk.Reference(sky130_fd_pr__nfet_g5v0d, (11.095,11.575)))
opamp_manual.add(gdstk.Reference(c_sky130_fd_pr__pfet_g5v0d, (9.685,2.52)))
opamp_manual.add(gdstk.Reference(c_sky130_fd_pr__pfet_g5v0d_, (11.775,15.94)))
opamp_manual.add(gdstk.Reference(c_sky130_fd_pr__nfet_g5v0d__, (16.32,4.545)))
opamp_manual.add(gdstk.Reference(c_sky130_fd_pr__pfet_g5v0d__, (16.295,13.875)))
opamp_manual.add(gdstk.Reference(c_sky130_fd_pr__res_generi, (-2.235,13.985)))
opamp_manual.add(gdstk.Reference(c_sky130_fd_pr__res_generi_, (-1.815,5.27)))
opamp_manual.add(gdstk.Label('VDD', (8.135,19.47), layer=68, texttype=5))
opamp_manual.add(gdstk.Label('OUT', (18.4,8.26), layer=68, texttype=5))
opamp_manual.add(gdstk.Label('GND', (4.88,0.395), layer=68, texttype=5))
opamp_manual.add(gdstk.Label('VIN', (0.58,4.87), layer=68, texttype=5))

lib.write_gds('opamp_manual.gds')
